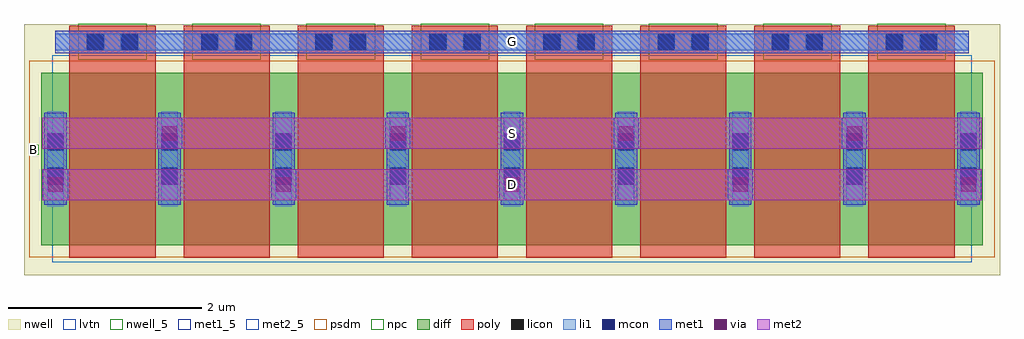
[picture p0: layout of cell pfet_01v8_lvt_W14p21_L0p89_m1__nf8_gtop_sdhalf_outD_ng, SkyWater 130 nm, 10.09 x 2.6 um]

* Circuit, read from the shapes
.subckt pfet_01v8_lvt_W14p21_L0p89_m1__nf8_gtop_sdhalf_outD_ng B D G S
XM1 S G D B sky130_fd_pr__pfet_01v8_lvt w=1.78 l=0.89 m=8
.ends

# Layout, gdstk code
import gdstk
lib = gdstk.Library(unit=1e-6, precision=1e-09)
def R(c, l, rs):  # rectangles x0, y0, x1, y1
    for r in rs: c.add(gdstk.rectangle(r[:2], r[2:], *l))
def A(c, l, x, y, w, h, nx, ny, dx, dy):  # array of equal rectangles
    R(c, l, [(x+i*dx, y+j*dy, x+i*dx+w, y+j*dy+h) for i in range(nx) for j in range(ny)])
nwell_5 = (64, 5)
nwell = (64, 20)
diff = (65, 20)
poly = (66, 20)
licon = (66, 44)
li1 = (67, 20)
mcon = (67, 44)
met1_5 = (68, 5)
met1 = (68, 20)
via = (68, 44)
met2_5 = (69, 5)
met2 = (69, 20)
psdm = (94, 20)
npc = (95, 20)
lvtn = (125, 44)

sky130_fd_pr__pfet_01v8_ = lib.new_cell('sky130_fd_pr__pfet_01v8_lvt_LV2DEJ')
R(sky130_fd_pr__pfet_01v8_, nwell, [(-5.045,-1.38,5.045,1.21)])
R(sky130_fd_pr__pfet_01v8_, diff, [(-4.865,-1.07,4.865,0.71)])
A(sky130_fd_pr__pfet_01v8_, poly, -4.575, -1.2, 0.89, 2.395, 8, 1, 1.18, 0)
A(sky130_fd_pr__pfet_01v8_, licon, -4.805, -0.435, 0.17, 0.17, 9, 2, 1.18, 0.34)
R(sky130_fd_pr__pfet_01v8_, licon, [(-4.385,0.945,-4.215,1.115), (-4.045,0.945,-3.875,1.115), (-3.205,0.945,-3.035,1.115), (-2.865,0.945,-2.695,1.115), (-2.025,0.945,-1.855,1.115), (-1.685,0.945,-1.515,1.115), (-0.845,0.945,-0.675,1.115), (-0.505,0.945,-0.335,1.115), (0.335,0.945,0.505,1.115), (0.675,0.945,0.845,1.115), (1.515,0.945,1.685,1.115), (1.855,0.945,2.025,1.115), (2.695,0.945,2.865,1.115), (3.035,0.945,3.205,1.115), (3.875,0.945,4.045,1.115), (4.215,0.945,4.385,1.115)])
A(sky130_fd_pr__pfet_01v8_, li1, -4.805, -0.675, 0.17, 0.99, 9, 1, 1.18, 0)
R(sky130_fd_pr__pfet_01v8_, li1, [(-4.72,0.945,4.72,1.115)])
A(sky130_fd_pr__pfet_01v8_, mcon, -4.805, -0.445, 0.17, 0.17, 9, 2, 1.18, 0.36)
R(sky130_fd_pr__pfet_01v8_, mcon, [(-4.395,0.945,-4.225,1.115), (-4.035,0.945,-3.865,1.115), (-3.215,0.945,-3.045,1.115), (-2.855,0.945,-2.685,1.115), (-2.035,0.945,-1.865,1.115), (-1.675,0.945,-1.505,1.115), (-0.855,0.945,-0.685,1.115), (-0.495,0.945,-0.325,1.115), (0.325,0.945,0.495,1.115), (0.685,0.945,0.855,1.115), (1.505,0.945,1.675,1.115), (1.865,0.945,2.035,1.115), (2.685,0.945,2.855,1.115), (3.045,0.945,3.215,1.115), (3.865,0.945,4.035,1.115), (4.225,0.945,4.395,1.115)])
A(sky130_fd_pr__pfet_01v8_, met1, -4.835, -0.655, 0.23, 0.95, 9, 1, 1.18, 0)
A(sky130_fd_pr__pfet_01v8_, met1, -4.555, 0.915, 0.85, 0.03, 8, 2, 1.18, 0.2)
R(sky130_fd_pr__pfet_01v8_, met1, [(-4.72,0.945,4.72,1.115)])
R(sky130_fd_pr__pfet_01v8_, psdm, [(-4.99,-1.195,4.99,0.835)])
A(sky130_fd_pr__pfet_01v8_, npc, -4.485, 0.845, 0.71, 0.37, 8, 1, 1.18, 0)
R(sky130_fd_pr__pfet_01v8_, lvtn, [(-4.755,-1.25,4.755,0.89)])
sky130_fd_pr__pfet_01v8_.add(gdstk.Label('D0', (-4.72,-0.18), layer=67, texttype=5))
sky130_fd_pr__pfet_01v8_.add(gdstk.Label('G', (4.13,1.03), layer=67, texttype=5))
sky130_fd_pr__pfet_01v8_.add(gdstk.Label('G', (2.95,1.03), layer=67, texttype=5))
sky130_fd_pr__pfet_01v8_.add(gdstk.Label('G', (1.77,1.03), layer=67, texttype=5))
sky130_fd_pr__pfet_01v8_.add(gdstk.Label('G', (0.59,1.03), layer=67, texttype=5))
sky130_fd_pr__pfet_01v8_.add(gdstk.Label('G', (-0.59,1.03), layer=67, texttype=5))
sky130_fd_pr__pfet_01v8_.add(gdstk.Label('G', (-1.77,1.03), layer=67, texttype=5))
sky130_fd_pr__pfet_01v8_.add(gdstk.Label('G', (-2.95,1.03), layer=67, texttype=5))
sky130_fd_pr__pfet_01v8_.add(gdstk.Label('G', (-4.13,1.03), layer=67, texttype=5))
sky130_fd_pr__pfet_01v8_.add(gdstk.Label('S1', (-3.54,-0.18), layer=67, texttype=5))
sky130_fd_pr__pfet_01v8_.add(gdstk.Label('D2', (-2.36,-0.18), layer=67, texttype=5))
sky130_fd_pr__pfet_01v8_.add(gdstk.Label('S3', (-1.18,-0.18), layer=67, texttype=5))
sky130_fd_pr__pfet_01v8_.add(gdstk.Label('D4', (0,-0.18), layer=67, texttype=5))
sky130_fd_pr__pfet_01v8_.add(gdstk.Label('S5', (1.18,-0.18), layer=67, texttype=5))
sky130_fd_pr__pfet_01v8_.add(gdstk.Label('D6', (2.36,-0.18), layer=67, texttype=5))
sky130_fd_pr__pfet_01v8_.add(gdstk.Label('S7', (3.54,-0.18), layer=67, texttype=5))

pfet_01v8_lvt_w14p21_l0p = lib.new_cell('pfet_01v8_lvt_W14p21_L0p89_m1__nf8_gtop_sdhalf_outD_ng')
R(pfet_01v8_lvt_w14p21_l0p, nwell_5, [(0.05,1.245,0.15,1.345)])
R(pfet_01v8_lvt_w14p21_l0p, nwell, [(0.05,1.245,0.15,1.345)])
R(pfet_01v8_lvt_w14p21_l0p, met1_5, [(0.325,2.295,9.765,2.525)])
A(pfet_01v8_lvt_w14p21_l0p, met1, 0.195, 0.775, 0.26, 0.32, 5, 1, 2.36, 0)
A(pfet_01v8_lvt_w14p21_l0p, met1, 1.375, 1.305, 0.26, 0.32, 4, 1, 2.36, 0)
R(pfet_01v8_lvt_w14p21_l0p, met1, [(0.325,2.295,9.765,2.525)])
A(pfet_01v8_lvt_w14p21_l0p, via, 0.25, 0.86, 0.15, 0.15, 5, 1, 2.36, 0)
A(pfet_01v8_lvt_w14p21_l0p, via, 1.43, 1.39, 0.15, 0.15, 4, 1, 2.36, 0)
R(pfet_01v8_lvt_w14p21_l0p, met2_5, [(0.19,0.775,9.9,1.095), (0.19,1.305,9.9,1.625)])
R(pfet_01v8_lvt_w14p21_l0p, met2, [(0.19,0.775,9.9,1.095), (0.19,1.305,9.9,1.625)])
pfet_01v8_lvt_w14p21_l0p.add(gdstk.Reference(sky130_fd_pr__pfet_01v8_, (5.045,1.38)))
pfet_01v8_lvt_w14p21_l0p.add(gdstk.Label('S', (5.045,1.465), layer=69, texttype=5))
pfet_01v8_lvt_w14p21_l0p.add(gdstk.Label('D', (5.045,0.935), layer=69, texttype=5))
pfet_01v8_lvt_w14p21_l0p.add(gdstk.Label('G', (5.045,2.41), layer=68, texttype=5))
pfet_01v8_lvt_w14p21_l0p.add(gdstk.Label('B', (0.1,1.295), layer=64, texttype=5))

lib.write_gds('pfet_01v8_lvt_W14p21_L0p89_m1__nf8_gtop_sdhalf_outD_ng.gds')
